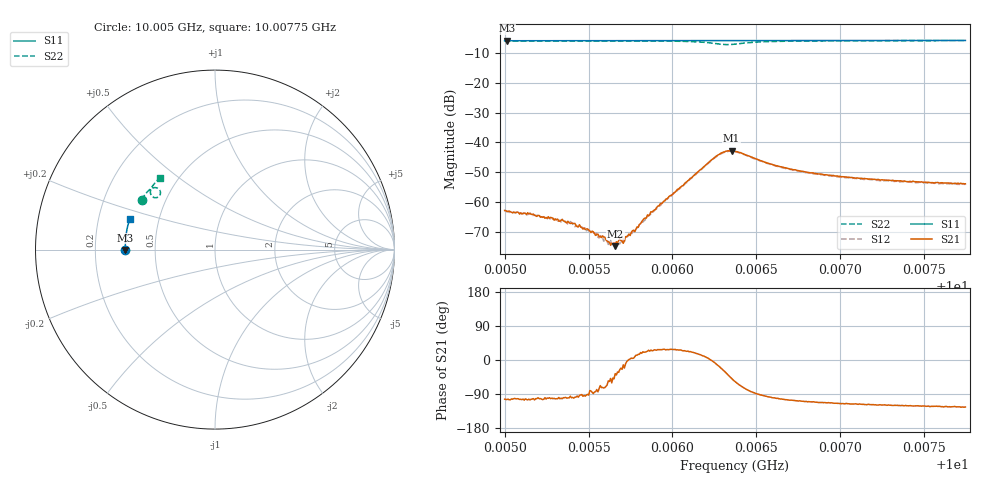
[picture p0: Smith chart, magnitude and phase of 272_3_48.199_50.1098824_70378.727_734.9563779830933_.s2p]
#  HZ  S  RI  R  50.00
! Rohde & Schwarz Vector Network Analyzer
! Rohde-Schwarz,ZNB20-2Port,1311601062101988,3.16
! Created: UTC 3/20/2024, 11:48:13 AM
! freq[Hz]  re:S11  im:S11  re:S21  im:S21  re:S12  im:S12  re:S22  im:S22
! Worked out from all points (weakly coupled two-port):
!   401 points, 10.005 GHz to 10.00775 GHz, reference 50 ohm
!   highest |S21| = -42.74 dB at 10.00635 GHz (marker M1); lowest = -74.6 dB at 10.00566 GHz (marker M2)
!   lowest |S11| = -6.0 dB at 10.00501 GHz (marker M3), VSWR 3.00, Z = 16.7 - j0.0603 ohm
!   |S11| at or under -10 dB: nowhere
!   |S22| runs from -7.3 to -6.0 dB; largest |S21 - S12| = 0.00041
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1.0004999e10  -0.4996 -0.00231  -0.00017 -0.000712  -0.000118 -0.000703  -0.4092 0.2778
1.0005012e10  -0.4995 -0.00135  -0.000175 -0.000683  -0.000143 -0.000684  -0.4088 0.2787
1.0005274e10  -0.5 0.0156  -0.000116 -0.000549  -7.47e-05 -0.000503  -0.3988 0.2941
1.0005397e10  -0.4999 0.0236  -7.35e-05 -0.000442  -4.96e-05 -0.00046  -0.3935 0.3015
1.0005459e10  -0.4999 0.0278  -9e-06 -0.000381  -1.59e-05 -0.000383  -0.3908 0.3052
1.0005535e10  -0.4996 0.0326  2.96e-05 -0.000299  7.44e-06 -0.000303  -0.3872 0.3099
1.0005603e10  -0.4994 0.0369  8.31e-05 -0.000221  9e-05 -0.000209  -0.3838 0.3141
1.0005631e10  -0.4994 0.0388  0.000126 -0.000144  0.000148 -0.000182  -0.3826 0.3158
1.0005658e10  -0.4993 0.0407  0.000151 -0.00011  0.000151 -0.000124  -0.3811 0.3175
1.0005679e10  -0.4992 0.0418  0.000192 -0.000123  0.000169 -0.000118  -0.3798 0.3187
1.0005713e10  -0.4991 0.0442  0.000213 -8.22e-05  0.000214 -5.56e-05  -0.378 0.3209
1.0005762e10  -0.4988 0.0472  0.000335 2.43e-05  0.000312 2.47e-05  -0.3752 0.3241
1.0005837e10  -0.4987 0.0522  0.000508 0.000196  0.00046 0.000211  -0.37 0.3289
1.000592e10  -0.4981 0.0575  0.000777 0.000396  0.000757 0.000431  -0.3636 0.3344
1.0006256e10  -0.4953 0.0791  0.0057 -0.000868  0.00559 -0.000562  -0.306 0.3278
1.0006305e10  -0.4947 0.082  0.00612 -0.0032  0.00613 -0.00281  -0.3052 0.3071
1.0006353e10  -0.4945 0.0847  0.00482 -0.00547  0.00496 -0.00511  -0.3205 0.291
1.0006373e10  -0.4943 0.0861  0.0039 -0.00595  0.00413 -0.00565  -0.3294 0.289
1.0006607e10  -0.4926 0.1009  -0.00071 -0.00414  -0.000535 -0.00408  -0.3594 0.3279
1.0006834e10  -0.49 0.1155  -0.00109 -0.0029  -0.000963 -0.00289  -0.3499 0.351
1.0007294e10  -0.4831 0.1444  -0.00113 -0.00203  -0.00101 -0.00202  -0.3267 0.3793
1.0007748e10  -0.4749 0.1724  -0.00115 -0.00169  -0.00104 -0.0017  -0.3036 0.4011
